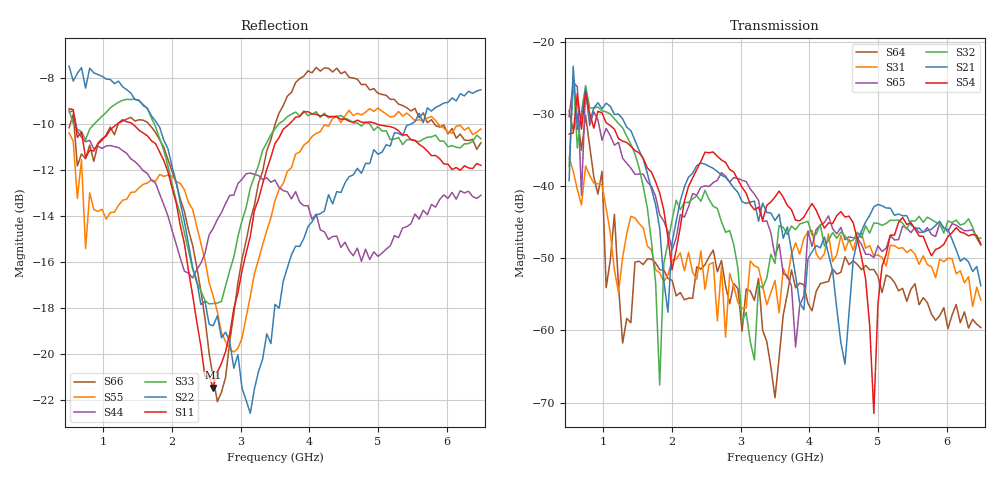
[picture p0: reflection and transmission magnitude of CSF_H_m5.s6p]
!Keysight Technologies,M9804A,MY58100912,A.14.10.03
!Date: Thursday, April 27, 2023 10:28:33
!Correction: S11(C  6-Port  )
!S12(C  6-Port  )
!S13(C  6-Port  )
!S14(C  6-Port  )
!S15(C  6-Port  )
!S16(C  6-Port  )
!S21(C  6-Port  )
!S22(C  6-Port  )
!S23(C  6-Port  )
!S24(C  6-Port  )
!S25(C  6-Port  )
!S26(C  6-Port  )
!S31(C  6-Port  )
!S32(C  6-Port  )
!S33(C  6-Port  )
!S34(C  6-Port  )
!S35(C  6-Port  )
!S36(C  6-Port  )
!S41(C  6-Port  )
!S42(C  6-Port  )
!S43(C  6-Port  )
!S44(C  6-Port  )
!S45(C  6-Port  )
!S46(C  6-Port  )
!S51(C  6-Port  )
!S52(C  6-Port  )
!S53(C  6-Port  )
!S54(C  6-Port  )
!S55(C  6-Port  )
!S56(C  6-Port  )
!S61(C  6-Port  )
!S62(C  6-Port  )
!S63(C  6-Port  )
!S64(C  6-Port  )
!S65(C  6-Port  )
!S66(C  6-Port  )
!S6P File: Measurement: :
# Hz S  RI  R 50
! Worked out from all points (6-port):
!   101 points, 500 MHz to 6.5 GHz, reference 50 ohm
!   strongest paths, dB at 500 MHz, 2 GHz, 3.5 GHz, 5 GHz, 6.5 GHz:
!     S54: -32.8, -51.6, -41.5, -56.3, -48.0
!     S21: -39.2, -47.8, -44.8, -42.5, -53.8
!     S32: -37.3, -44.7, -50.7, -45.2, -47.2
!     S65: -30.4, -48.8, -49.7, -48.3, -48.2
!     S31: -36.1, -50.3, -53.1, -49.5, -55.8
!     S64: -29.5, -53.0, -69.4, -52.5, -59.6
!   lowest |S11| = -21.5 dB at 2.6 GHz (marker M1), VSWR 1.18, Z = 42.5 + j2.13 ohm
!   |S11| at or under -10 dB: 590.9 MHz to 1.205 GHz (614.4 MHz wide, 68.4 % of centre); 1.421 GHz to 3.71 GHz (2.289 GHz wide, 89.2 % of centre); 4.977 GHz to end of sweep
